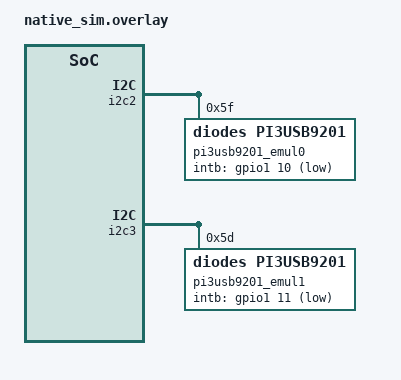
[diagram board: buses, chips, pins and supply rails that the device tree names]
/* Copyright 2023 The ChromiumOS Authors
 * Use of this source code is governed by a BSD-style license that can be
 * found in the LICENSE file.
 */

/* This file removes the downstream legacy PI3USB9201 drivers that use the
 * "pericom,pi3usb9201" compatible with the upstream driver that uses the
 * "diodes,pi3usb9201" compatible.
 */

 #include "../../boards/native_sim.overlay"

/delete-node/ &int_usb_c0_bc12;
/delete-node/ &int_usb_c1_bc12;

/* TODO: b/299979653 - Cleanup LED tests under zephyr/test/drivers
 * Prevent the devicetree LED driver from spamming the output
 */
/delete-node/ &{/led-colors};

&i2c2
{
	/delete-node/ pi3usb9201@5f;

        pi3usb9201_emul0: pi3usb9201@5f
	{
		compatible = "diodes,pi3usb9201";
		reg = <0x5f>;
		intb-gpios = <&gpio1 10 GPIO_ACTIVE_LOW>;
		charging-mode = "BC12_TYPE_CDP";
	};
};

&i2c3
{
	/delete-node/ pi3usb9201@5d;

        pi3usb9201_emul1: pi3usb9201@5d
	{
		compatible = "diodes,pi3usb9201";
		reg = <0x5d>;
		intb-gpios = <&gpio1 11 GPIO_ACTIVE_LOW>;
		charging-mode = "BC12_TYPE_CDP";
	};
};
